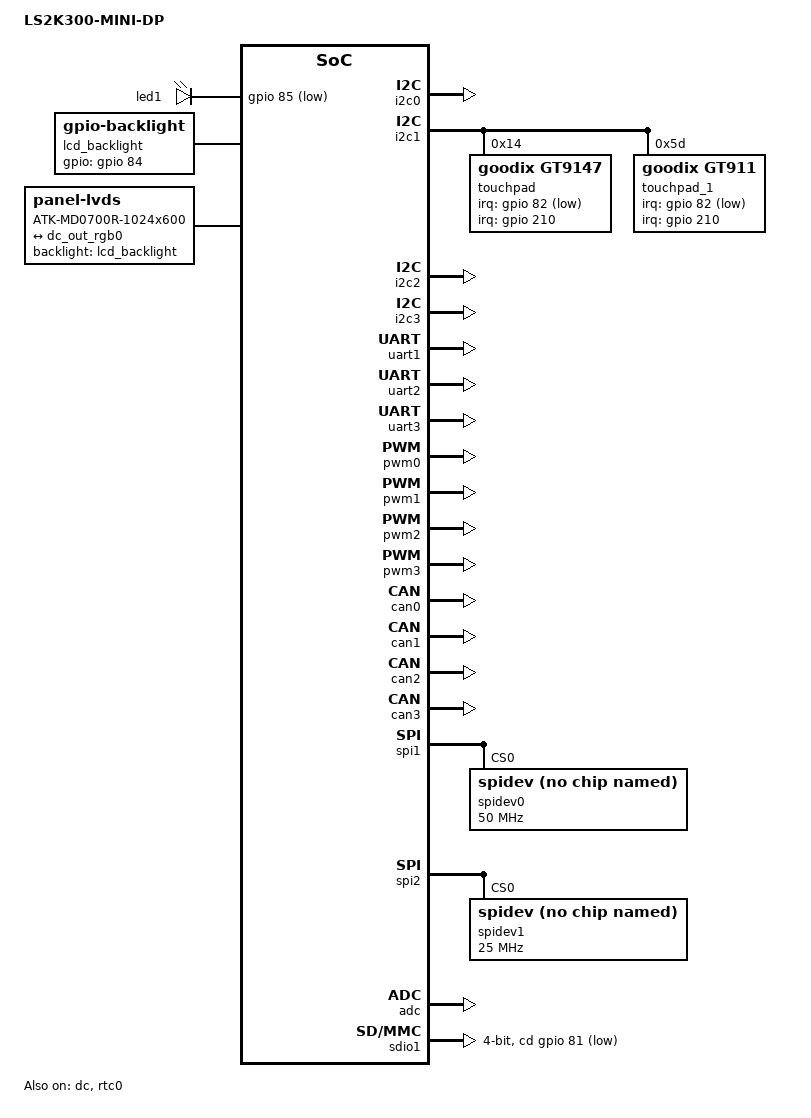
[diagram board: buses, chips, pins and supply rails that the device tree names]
#include "ls2k300_g2k03z0_core_v10.dtsi"
#include "loongson_panel_param.dtsi"
#include <dt-bindings/input/linux-event-codes.h>
#include <dt-bindings/pwm/pwm.h>

/ {
	model = "LS2K300-MINI-DP";

	leds {
		compatible = "gpio-leds";

		led1 {
			label = "led1";
			gpios = <&gpio 85 GPIO_ACTIVE_LOW>;
			linux,default-trigger = "heartbeat";
			default-state = "on";
		};

	};

	lcd_backlight: backlight {
		compatible = "gpio-backlight";
		gpios = <&gpio 84 GPIO_ACTIVE_HIGH>;
		default-on;
	};

	panel: dvo-connector@0 {
		#address-cells = <1>;
		#size-cells = <0>;
		compatible = "panel-lvds", "auo,b101ean01";
		backlight = <&lcd_backlight>;

		/* lcd power on control gpio */
		// enable-gpios = <&pioA 3 GPIO_ACTIVE_HIGH>;
		// power-supply = <&vdd_lcd>;
#if 0	// 4.3' LCD
		width-mm = <223>;
		height-mm = <125>;
		label = "ATK-MD0430R-800x480";
		data-mapping = "jeida-24";

		panel-timing {
			clock-frequency = <27000000>;
			hactive = <800>;
			vactive = <480>;
			hsync-len = <40>;
			hfront-porch = <48>;
			hback-porch = <40>;
			vfront-porch = <13>;
			vback-porch = <32>;
			vsync-len = <1>;
			de-active = <1>;
			hsync-active = <0>;
			vsync-active = <0>;
			pixelclk-active = <0>;
		};
#else	// 7' LCD
		width-mm = <223>;
		height-mm = <125>;
		label = "ATK-MD0700R-1024x600";
		data-mapping = "jeida-24";

		panel-timing {
			clock-frequency = <51200000>;
			hactive = <1024>;
			vactive = <600>;
			hsync-len = <20>;
			hfront-porch = <160>;
			hback-porch = <140>;
			vfront-porch = <12>;
			vback-porch = <20>;
			vsync-len = <3>;
			de-active = <1>;
			hsync-active = <0>;
			vsync-active = <0>;
			pixelclk-active = <0>;
		};
#endif
		port@0 {
			reg = <0>;

			#address-cells = <1>;
			#size-cells = <0>;

			dvo_connector_in: endpoint@0 {
				reg = <0>;
				remote-endpoint = <&dc_out_rgb0>;
			};
		};
	};
};

&dc {
	status = "ok";

	ports {
		#address-cells = <1>;
		#size-cells = <0>;

		port@0 {
			reg = <0>;
			dc_out_rgb0: endpoint {
				remote-endpoint = <&dvo_connector_in>;
			};
		};
	};
};

&i2c0 {
	status = "ok";
};

&i2c1 {
	status = "ok";

	// 两款芯片不能同时支持，因为用同一个GPIO
	// 但可以在两个屏幕间切换

	// 4.3寸触屏芯片
	touchpad: gt9147@14 {
		compatible = "goodix,gt9147";
		reg = <0x14>;
		// 2K300 GPIO 支持中断控制
		// GPIO 中断号为 vhwirq-base + pinnum (210 = 128 + 82)
		interrupt-parent = <&gpio>;
		interrupts = <210 IRQ_TYPE_EDGE_FALLING>;
		irq-gpios = <&gpio 82 GPIO_ACTIVE_LOW>;
	};

	// 7寸触屏芯片
	touchpad_1: gt911@5d {
		compatible = "goodix,gt911";
		reg = <0x5d>;
		interrupt-parent = <&gpio>;
		interrupts = <210 IRQ_TYPE_EDGE_FALLING>;
		irq-gpios = <&gpio 82 GPIO_ACTIVE_LOW>;
	};
};

&i2c2 {
	status = "ok";
};

&i2c3 {
	status = "ok";
};

&uart1 {
	status = "ok";
};

&uart2 {
	status = "ok";
};

&uart3 {
	status = "ok";
};

&pwm0 {
	status = "ok";
};

&pwm1 {
	status = "ok";
};

&pwm2 {
	status = "ok";
};

&pwm3 {
	status = "ok";
};

&can0 {
	status = "ok";
};

&can1 {
	status = "ok";
};

&can2 {
	status = "ok";
};

&can3 {
	status = "ok";
};

&spi1 {
	status = "ok";

	spidev0@0 {
		compatible = "rohm,dh2228fv";
		reg = <0>;
		spi-max-frequency = <50000000>;
	};
};

&spi2 {
	status = "ok";

	spidev1@0 {
		compatible = "rohm,dh2228fv";
		reg = <0>;
		spi-max-frequency = <25000000>;
	};
};

&adc {
	status = "okay";
};

&rtc0 {
	status = "okay";
};

&sdio1 {
	pinctrl-0 = <&sdio1_pins>;
	pinctrl-names = "default";
	cap-sd-highspeed;
	cap-mmc-highspeed;
	bus-width = <4>;
	cd-gpios = <&gpio 81 GPIO_ACTIVE_LOW>;
	status = "okay";
};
